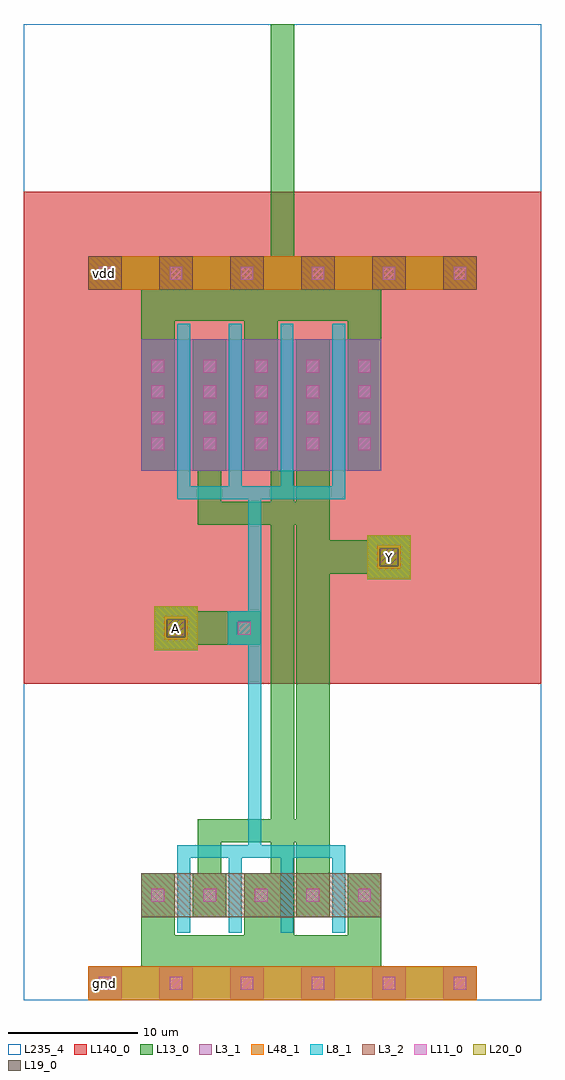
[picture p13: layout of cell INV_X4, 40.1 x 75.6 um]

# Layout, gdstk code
import gdstk
lib = gdstk.Library(unit=1e-6, precision=1e-09)
def R(c, l, rs):  # rectangles x0, y0, x1, y1
    for r in rs: c.add(gdstk.rectangle(r[:2], r[2:], *l))
def A(c, l, x, y, w, h, nx, ny, dx, dy):  # array of equal rectangles
    R(c, l, [(x+i*dx, y+j*dy, x+i*dx+w, y+j*dy+h) for i in range(nx) for j in range(ny)])
def P(c, l, *ps):  # polygons
    for p in ps: c.add(gdstk.Polygon(p, *l))
L3_1 = (3, 1)
L3_2 = (3, 2)
L8_1 = (8, 1)
L11_0 = (11, 0)
L13_0 = (13, 0)
L19_0 = (19, 0)
L20_0 = (20, 0)
L48_1 = (48, 1)
L140_0 = (140, 0)
L235_4 = (235, 4)

inv_x4 = lib.new_cell('INV_X4')
A(inv_x4, L3_1, 5, 0, 2.6, 2.6, 6, 1, 5.5, 0)
R(inv_x4, L3_1, [(9.1,41,27.7,51.2)])
A(inv_x4, L3_2, 5, 55, 2.6, 2.6, 6, 1, 5.5, 0)
R(inv_x4, L3_2, [(9.1,6.4,27.7,9.8)])
P(inv_x4, L8_1, [(11.9,5.2),(11.9,12),(17.4,12),(17.4,27.5),(15.8,27.5),(15.8,30.1),(17.4,30.1),(17.4,38.8),(11.9,38.8),(11.9,52.4),(12.9,52.4),(12.9,39.8),(15.9,39.8),(15.9,52.4),(16.9,52.4),(16.9,39.8),(19.9,39.8),(19.9,52.4),(20.9,52.4),(20.9,39.8),(23.9,39.8),(23.9,52.4),(24.9,52.4),(24.9,38.8),(18.4,38.8),(18.4,12),(24.9,12),(24.9,5.2),(23.9,5.2),(23.9,11),(20.9,11),(20.9,5.2),(19.9,5.2),(19.9,11),(16.9,11),(16.9,5.2),(15.9,5.2),(15.9,11),(12.9,11),(12.9,5.2)])
A(inv_x4, L11_0, 5.8, 0.8, 1, 1, 6, 2, 5.5, 55)
A(inv_x4, L11_0, 9.9, 7.6, 1, 1, 5, 2, 4, 35)
A(inv_x4, L11_0, 9.9, 44.6, 1, 1, 5, 3, 4, 2)
R(inv_x4, L11_0, [(16.6,28.3,17.6,29.3)])
P(inv_x4, L13_0, [(10.1,27.1),(10.1,30.5),(13.5,30.5),(13.5,30.1),(18.4,30.1),(18.4,27.5),(13.5,27.5),(13.5,27.1)],
  [(5,0),(5,2.6),(9.1,2.6),(9.1,9.8),(11.7,9.8),(11.7,5),(17.1,5),(17.1,9.8),(19.15,9.8),(19.15,12.2),(15.3,12.2),(15.3,9.8),(15.7,9.8),(15.7,6.4),(13.1,6.4),(13.1,9.8),(13.5,9.8),(13.5,14),(19.15,14),(19.15,36.8),(20.95,36.8),(20.95,14),(21.1,14),(21.1,36.8),(13.5,36.8),(13.5,41),(13.1,41),(13.1,51.2),(15.7,51.2),(15.7,41),(15.3,41),(15.3,38.6),(19.15,38.6),(19.15,41),(17.1,41),(17.1,52.6),(11.7,52.6),(11.7,41),(9.1,41),(9.1,55),(5,55),(5,57.6),(19.15,57.6),(19.15,75.6),(20.95,75.6),(20.95,57.6),(35.1,57.6),(35.1,55),(27.7,55),(27.7,41),(25.1,41),(25.1,52.6),(19.7,52.6),(19.7,41),(20.95,41),(20.95,38.6),(21.1,38.6),(21.1,51.2),(23.7,51.2),(23.7,35.6),(26.6,35.6),(26.6,36),(30,36),(30,32.6),(26.6,32.6),(26.6,33),(23.7,33),(23.7,6.4),(21.1,6.4),(21.1,12.2),(20.95,12.2),(20.95,5),(25.1,5),(25.1,9.8),(27.7,9.8),(27.7,2.6),(35.1,2.6),(35.1,0)])
R(inv_x4, L19_0, [(11.1,28.1,12.5,29.5), (27.6,33.6,29,35)])
R(inv_x4, L20_0, [(10.1,27.1,13.5,30.5), (26.6,32.6,30,36)])
R(inv_x4, L48_1, [(5,0,35.1,2.6), (10.9,27.9,12.7,29.7), (27.4,33.4,29.2,35.2), (5,55,35.1,57.6)])
R(inv_x4, L140_0, [(0,24.5,40.1,62.6)])
R(inv_x4, L235_4, [(0,0,40.1,75.6)])
inv_x4.add(gdstk.Label('Y', (28.3,34.3), layer=48, texttype=0))
inv_x4.add(gdstk.Label('A', (11.8,28.8), layer=48, texttype=0))
inv_x4.add(gdstk.Label('vdd', (6.3,56.3), layer=48, texttype=0))
inv_x4.add(gdstk.Label('gnd', (6.3,1.3), layer=48, texttype=0))
inv_x4.add(gdstk.Label('A', (11.8,28.8), layer=49, texttype=0))
inv_x4.add(gdstk.Label('Y', (28.3,34.3), layer=49, texttype=0))

lib.write_gds('INV_X4.gds')
